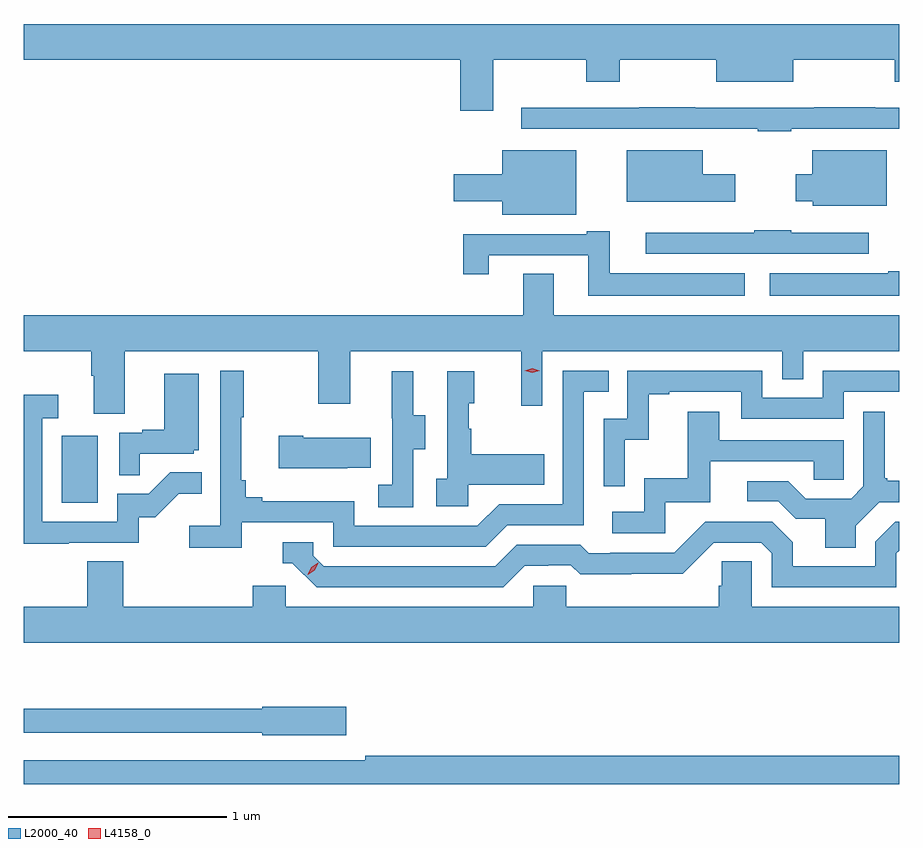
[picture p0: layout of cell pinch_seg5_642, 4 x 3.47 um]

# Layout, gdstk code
import gdstk
lib = gdstk.Library(unit=1e-6, precision=1e-09)
def R(c, l, rs):  # rectangles x0, y0, x1, y1
    for r in rs: c.add(gdstk.rectangle(r[:2], r[2:], *l))
def P(c, l, *ps):  # polygons
    for p in ps: c.add(gdstk.Polygon(p, *l))
L2000_40 = (2000, 40)
L4158_0 = (4158, 0)

pinch_seg5_642 = lib.new_cell('pinch_seg5_642')
R(pinch_seg5_642, L2000_40, [(1045.328,856.068,1045.492,856.375)])
P(pinch_seg5_642, L2000_40, [(1047.301,858.092),(1047.724,858.092),(1047.724,857.993),(1047.879,857.993),(1047.879,858.092),(1048.319,858.092),(1048.319,857.993),(1048.672,857.993),(1048.672,858.092),(1049.134,858.092),(1049.134,857.993),(1049.155,857.993),(1049.155,858.256),(1045.155,858.256),(1045.155,858.092),(1047.149,858.092),(1047.149,857.859),(1047.301,857.859)],
  [(1048.661,857.778),(1049.155,857.778),(1049.155,857.874),(1049.045,857.874),(1049.045,857.876),(1048.768,857.876),(1048.768,857.874),(1048.223,857.874),(1048.223,857.876),(1047.967,857.876),(1047.967,857.874),(1047.429,857.874),(1047.429,857.778),(1048.354,857.778),(1048.354,857.777),(1048.508,857.777),(1048.508,857.766),(1048.661,857.766)],
  [(1048.405,857.569),(1048.258,857.569),(1048.258,857.68),(1047.911,857.68),(1047.911,857.444),(1048.405,857.444)],
  [(1049.098,857.68),(1048.757,857.68),(1048.757,857.569),(1048.682,857.569),(1048.682,857.447),(1048.761,857.447),(1048.761,857.426),(1049.098,857.426)],
  [(1047.679,857.68),(1047.341,857.68),(1047.341,857.569),(1047.12,857.569),(1047.12,857.447),(1047.341,857.447),(1047.341,857.384),(1047.679,857.384)],
  [(1049.017,857.301),(1048.661,857.301),(1048.661,857.314),(1048.492,857.314),(1048.492,857.302),(1047.996,857.302),(1047.996,857.205),(1049.017,857.205)],
  [(1048.45,857.116),(1047.832,857.116),(1047.832,857.308),(1047.728,857.308),(1047.728,857.295),(1047.163,857.295),(1047.163,857.112),(1047.28,857.112),(1047.28,857.199),(1047.734,857.199),(1047.734,857.015),(1048.45,857.015)],
  [(1049.155,857.126),(1049.104,857.126),(1049.104,857.116),(1048.563,857.116),(1048.563,857.015),(1049.155,857.015)],
  [(1045.615,856.76),(1046.5,856.76),(1046.5,856.521),(1046.647,856.521),(1046.647,856.76),(1047.428,856.76),(1047.428,856.512),(1047.525,856.512),(1047.525,856.76),(1048.62,856.76),(1048.62,856.633),(1048.716,856.633),(1048.716,856.76),(1049.155,856.76),(1049.155,856.924),(1047.577,856.924),(1047.577,857.114),(1047.437,857.114),(1047.437,856.924),(1045.155,856.924),(1045.155,856.76),(1045.463,856.76),(1045.463,856.648),(1045.475,856.648),(1045.475,856.474),(1045.615,856.474)],
  [(1046.15,855.978),(1046.568,855.978),(1046.568,855.867),(1047.265,855.867),(1047.364,855.966),(1047.714,855.966),(1047.714,856.575),(1047.827,856.575),(1047.827,856.671),(1047.618,856.671),(1047.618,856.062),(1047.327,856.062),(1047.228,855.963),(1046.664,855.963),(1046.664,856.075),(1046.245,856.075),(1046.245,856.094),(1046.168,856.094),(1046.168,856.171),(1046.149,856.171),(1046.149,856.459),(1046.161,856.459),(1046.161,856.672),(1046.052,856.672),(1046.052,855.964),(1045.911,855.964),(1045.911,855.862),(1046.15,855.862)],
  [(1047.9,856.355),(1048.01,856.355),(1048.01,856.563),(1048.105,856.563),(1048.105,856.575),(1048.434,856.575),(1048.434,856.452),(1048.902,856.452),(1048.902,856.575),(1049.155,856.575),(1049.155,856.671),(1048.806,856.671),(1048.806,856.548),(1048.53,856.548),(1048.53,856.671),(1047.912,856.671),(1047.912,856.452),(1047.804,856.452),(1047.804,856.143),(1047.9,856.143)],
  [(1047.186,856.151),(1047.533,856.151),(1047.533,856.291),(1047.199,856.291),(1047.199,856.406),(1047.189,856.406),(1047.189,856.524),(1047.214,856.524),(1047.214,856.669),(1047.09,856.669),(1047.09,856.178),(1047.039,856.178),(1047.039,856.053),(1047.186,856.053)],
  [(1046.934,856.312),(1046.989,856.312),(1046.989,856.467),(1046.935,856.467),(1046.935,856.669),(1046.837,856.669),(1046.837,856.455),(1046.838,856.455),(1046.838,856.151),(1046.775,856.151),(1046.775,856.048),(1046.934,856.048)],
  [(1045.685,856.293),(1045.932,856.293),(1045.932,856.308),(1045.954,856.308),(1045.954,856.657),(1045.796,856.657),(1045.796,856.402),(1045.697,856.402),(1045.697,856.389),(1045.59,856.389),(1045.59,856.195),(1045.685,856.195)],
  [(1045.361,855.885),(1045.68,855.885),(1045.68,856.002),(1045.756,856.002),(1045.863,856.109),(1045.967,856.109),(1045.967,856.208),(1045.823,856.208),(1045.725,856.11),(1045.581,856.11),(1045.581,855.981),(1045.239,855.981),(1045.239,856.455),(1045.312,856.455),(1045.312,856.561),(1045.155,856.561),(1045.155,855.88),(1045.361,855.88)],
  [(1048.086,856.071),(1048.291,856.071),(1048.291,856.257),(1048.765,856.257),(1048.765,856.173),(1048.902,856.173),(1048.902,856.353),(1048.333,856.353),(1048.333,856.483),(1048.189,856.483),(1048.189,856.18),(1047.99,856.18),(1047.99,856.026),(1047.843,856.026),(1047.843,855.93),(1048.086,855.93)],
  [(1048.957,855.964),(1049.064,856.071),(1049.155,856.071),(1049.155,856.168),(1049.101,856.168),(1049.101,856.18),(1049.089,856.18),(1049.089,856.483),(1048.992,856.483),(1048.992,856.143),(1048.935,856.086),(1048.729,856.086),(1048.648,856.167),(1048.461,856.167),(1048.461,856.074),(1048.602,856.074),(1048.682,855.994),(1048.817,855.994),(1048.817,855.862),(1048.957,855.862)],
  [(1046.633,856.229),(1046.741,856.229),(1046.741,856.366),(1046.431,856.366),(1046.431,856.374),(1046.319,856.374),(1046.319,856.226),(1046.633,856.226)],
  [(1047.445,855.78),(1047.552,855.78),(1047.552,855.783),(1047.655,855.783),(1047.697,855.741),(1047.93,855.741),(1047.93,855.743),(1048.166,855.743),(1048.308,855.885),(1048.524,855.885),(1048.572,855.837),(1048.572,855.681),(1049.142,855.681),(1049.142,855.837),(1049.155,855.85),(1049.155,855.981),(1049.136,855.981),(1049.046,855.891),(1049.046,855.777),(1048.669,855.777),(1048.669,855.887),(1048.575,855.981),(1048.269,855.981),(1048.128,855.84),(1047.835,855.84),(1047.835,855.837),(1047.736,855.837),(1047.697,855.876),(1047.408,855.876),(1047.309,855.777),(1046.526,855.777),(1046.478,855.825),(1046.478,855.888),(1046.339,855.888),(1046.339,855.792),(1046.382,855.792),(1046.493,855.681),(1047.346,855.681)],
  [(1049.155,855.592),(1048.482,855.592),(1048.482,855.8),(1048.345,855.8),(1048.345,855.69),(1048.331,855.69),(1048.331,855.592),(1047.633,855.592),(1047.633,855.69),(1047.483,855.69),(1047.483,855.592),(1046.352,855.592),(1046.352,855.69),(1046.201,855.69),(1046.201,855.592),(1045.61,855.592),(1045.61,855.8),(1045.445,855.8),(1045.445,855.592),(1045.155,855.592),(1045.155,855.428),(1049.155,855.428)],
  [(1046.629,855.135),(1046.244,855.135),(1046.244,855.127),(1045.155,855.127),(1045.155,855.018),(1046.244,855.018),(1046.244,855.005),(1046.629,855.005)],
  [(1049.155,854.912),(1046.716,854.912),(1046.716,854.892),(1045.155,854.892),(1045.155,854.783),(1049.155,854.783)])
P(pinch_seg5_642, L4158_0, [(1046.453,855.74),(1046.453,855.741),(1046.469,855.773),(1046.5,855.793),(1046.5,855.793),(1046.5,855.792),(1046.484,855.76),(1046.453,855.74)],
  [(1047.478,856.662),(1047.443,856.672),(1047.443,856.672),(1047.443,856.672),(1047.478,856.682),(1047.513,856.672),(1047.513,856.672),(1047.513,856.672)])

lib.write_gds('pinch_seg5_642.gds')
